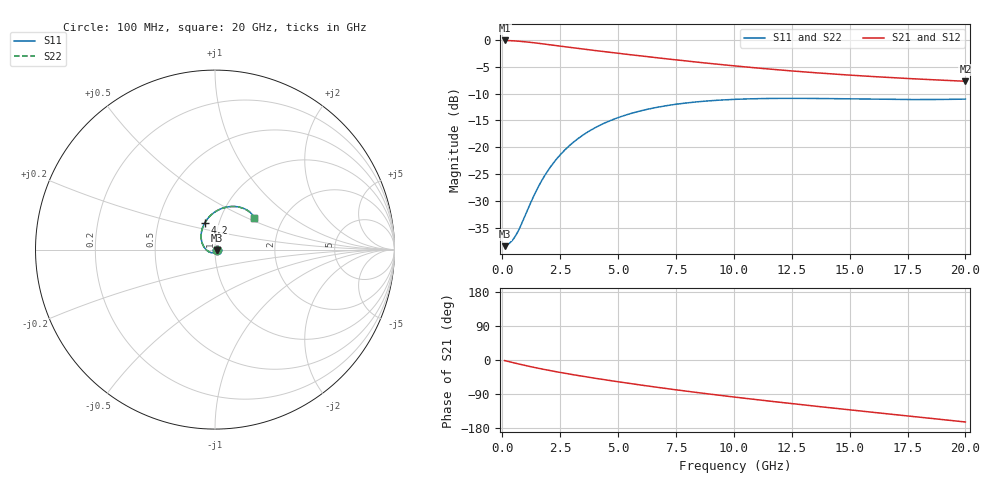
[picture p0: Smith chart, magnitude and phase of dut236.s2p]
! Touchstone file exported from HFSS 2023.1.0
!  File:  D:/Users/fzz/RDL_TSV/temp_RDL_TSV_236_1778759208.aedt
!  Generated:  7:57:36 %x4E0B%x5348  5%x6708 14, 2026
!  Design:  RDL_TSV
!  Project:  temp_RDL_TSV_236_1778759208
!  Setup:  Setup1
!  Solution:  Sweep
! Variables:
!  dtsv = 12.46um
!  hbump = 3um
!  htsv = 78.24um
!  ldown = 253.97um
!  lrdl = 314.82um
!  p = 40
!  p1 = 43.11um
!  rhole = 10um
!  subl = 2021.19um
!  t = 450um
!  tdown = 2.83um
!  trdl = 4.99um
!  viad = 10um
!  wdown = 18.9um
!  wrdl = 14.07um
!  xbump = 18um
# GHz S MA R 50.000000
! Terminal data exported
! Port[1] = TM1_1_T1
! Port[2] = TM1_4_T1
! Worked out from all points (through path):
!   200 points, 100 MHz to 20 GHz, reference 50 ohm
!   highest |S21| = -0.11 dB at 100 MHz (marker M1); lowest = -7.7 dB at 20 GHz (marker M2)
!   group delay of S21, straight-line fit = 21.4 ps
!   lowest |S11| = -38.4 dB at 100 MHz (marker M3), VSWR 1.02, Z = 51.2 - j0.268 ohm
!   |S11| at or under -10 dB: start of sweep to end of sweep
!   |S22| runs from -38.4 to -10.9 dB; largest |S21 - S12| = 9.7e-15
!   S11 on the Smith chart (normalised r, x): 100 MHz: 1.02, -0.01; 4.2 GHz: 0.85, +0.26; 20 GHz: 1.43, +0.55
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0.1  0.01196 -12.6  0.9877 -1.5  0.9877 -1.5  0.01196 -12.6
! Gamma 0 0 0 0
! Port Impedance 50 0 50 0
0.4  0.01329 -53.7  0.9821 -6.0  0.9821 -6.0  0.01329 -53.7
0.6  0.01528 -82.0  0.976 -9.0  0.976 -9.0  0.01528 -82.0
0.8  0.01863 -107.8  0.9684 -11.8  0.9684 -11.8  0.01863 -107.8
1.2  0.02953 -146.9  0.9493 -17.3  0.9493 -17.3  0.02952 -146.9
1.5  0.04049 -167.5  0.9328 -21.1  0.9328 -21.1  0.04048 -167.5
1.8  0.05298 176.7  0.9155 -24.8  0.9155 -24.8  0.05297 176.7
2.1  0.06637 163.8  0.8979 -28.4  0.8979 -28.4  0.06636 163.9
2.7  0.0942 143.9  0.8635 -35.0  0.8635 -35.0  0.09417 143.9
3.1  0.1126 133.3  0.8417 -39.2  0.8417 -39.2  0.1126 133.3
3.5  0.1304 124.3  0.8208 -43.2  0.8208 -43.2  0.1304 124.3
4.2  0.1594 111.0  0.7865 -50.0  0.7865 -50.0  0.1594 111.0
5.4  0.2015 93.5  0.7329 -61.0  0.7329 -61.0  0.2014 93.4
6.8  0.2378 78.2  0.6769 -73.0  0.6769 -73.0  0.2377 78.2
8.4  0.2645 65.2  0.6208 -85.7  0.6208 -85.7  0.2643 65.1
10.1  0.2795 55.0  0.5703 -98.4  0.5703 -98.4  0.2793 55.0
11.7  0.2848 48.1  0.5308 -109.6  0.5308 -109.6  0.2846 48.1
13.4  0.2847 43.1  0.4963 -121.1  0.4963 -121.1  0.2844 43.0
15  0.282 40.1  0.4696 -131.5  0.4696 -131.5  0.2817 40.1
16.7  0.279 38.6  0.4463 -142.5  0.4463 -142.5  0.2787 38.6
18.3  0.2781 38.4  0.4281 -152.7  0.4281 -152.7  0.2777 38.4
20  0.2806 39.0  0.4116 -163.6  0.4116 -163.6  0.2803 39.0
